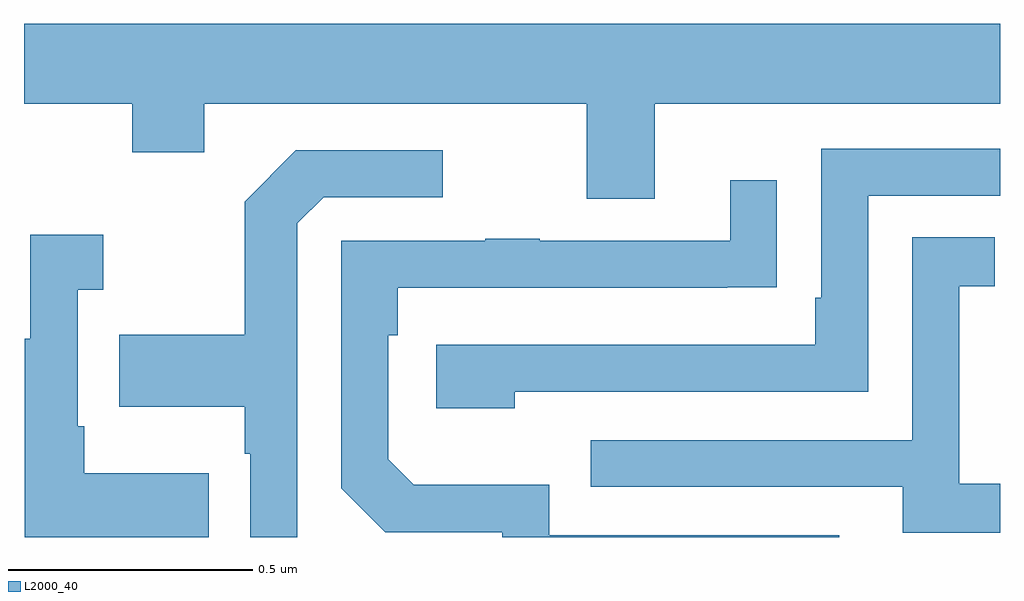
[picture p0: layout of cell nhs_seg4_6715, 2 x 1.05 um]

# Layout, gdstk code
import gdstk
lib = gdstk.Library(unit=1e-6, precision=1e-09)
def P(c, l, *ps):  # polygons
    for p in ps: c.add(gdstk.Polygon(p, *l))
L2000_40 = (2000, 40)

nhs_seg4_6715 = lib.new_cell('nhs_seg4_6715')
P(nhs_seg4_6715, L2000_40, [(194.293,828.788),(195,828.788),(195,828.952),(193,828.952),(193,828.788),(193.222,828.788),(193.222,828.689),(193.369,828.689),(193.369,828.788),(194.153,828.788),(194.153,828.594),(194.293,828.594)],
  [(194.006,828.198),(194.73,828.198),(194.73,828.6),(195,828.6),(195,828.696),(194.634,828.696),(194.634,828.391),(194.621,828.391),(194.621,828.294),(193.845,828.294),(193.845,828.164),(194.006,828.164)],
  [(193.56,828.543),(193.614,828.597),(193.858,828.597),(193.858,828.693),(193.557,828.693),(193.452,828.587),(193.452,828.315),(193.195,828.315),(193.195,828.167),(193.452,828.167),(193.452,828.071),(193.464,828.071),(193.464,827.9),(193.56,827.9)],
  [(194.671,827.904),(194.076,827.904),(194.076,828.007),(193.799,828.007),(193.746,828.06),(193.746,828.314),(193.766,828.314),(193.766,828.411),(194.441,828.411),(194.441,828.412),(194.543,828.412),(194.543,828.631),(194.447,828.631),(194.447,828.507),(194.057,828.507),(194.057,828.512),(193.945,828.512),(193.945,828.507),(193.65,828.507),(193.65,828),(193.74,827.91),(193.98,827.91),(193.98,827.9),(194.671,827.9)],
  [(193.379,828.031),(193.123,828.031),(193.123,828.127),(193.11,828.127),(193.11,828.407),(193.162,828.407),(193.162,828.52),(193.013,828.52),(193.013,828.307),(193.002,828.307),(193.002,827.9),(193.379,827.9)],
  [(195,828.009),(194.916,828.009),(194.916,828.414),(194.989,828.414),(194.989,828.515),(194.82,828.515),(194.82,828.099),(194.161,828.099),(194.161,828.003),(194.801,828.003),(194.801,827.909),(195,827.909)])

lib.write_gds('nhs_seg4_6715.gds')
